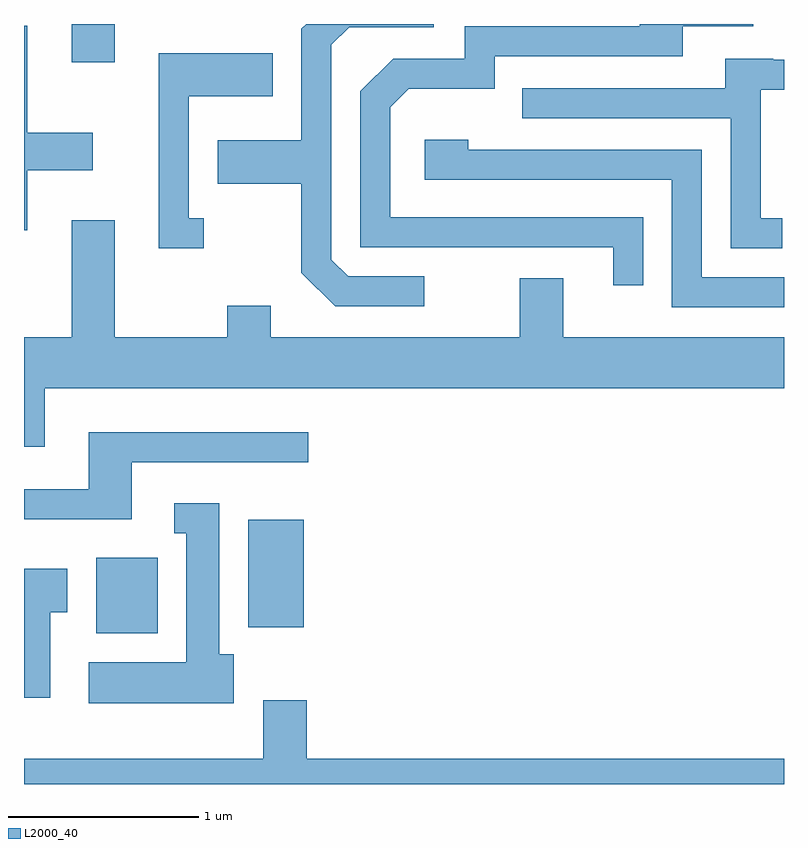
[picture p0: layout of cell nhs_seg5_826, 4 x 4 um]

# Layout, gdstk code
import gdstk
lib = gdstk.Library(unit=1e-6, precision=1e-09)
def R(c, l, rs):  # rectangles x0, y0, x1, y1
    for r in rs: c.add(gdstk.rectangle(r[:2], r[2:], *l))
def P(c, l, *ps):  # polygons
    for p in ps: c.add(gdstk.Polygon(p, *l))
L2000_40 = (2000, 40)

nhs_seg5_826 = lib.new_cell('nhs_seg5_826')
R(nhs_seg5_826, L2000_40, [(209.991,1428.866,210.314,1429.264), (210.791,1428.896,211.084,1429.464), (209.861,1431.871,210.089,1432.072)])
P(nhs_seg5_826, L2000_40, [(212.869,1431.054),(211.539,1431.054),(211.539,1431.634),(211.637,1431.731),(212.089,1431.731),(212.089,1431.901),(213.079,1431.901),(213.079,1432.061),(213.448,1432.061),(213.448,1432.072),(212.851,1432.072),(212.851,1432.059),(211.931,1432.059),(211.931,1431.889),(211.554,1431.889),(211.381,1431.717),(211.381,1430.896),(212.711,1430.896),(212.711,1430.698),(212.869,1430.698)],
  [(211.718,1430.744),(211.317,1430.744),(211.229,1430.832),(211.229,1431.964),(211.322,1432.056),(211.768,1432.056),(211.768,1432.072),(211.096,1432.072),(211.071,1432.047),(211.071,1431.459),(210.631,1431.459),(210.631,1431.231),(211.071,1431.231),(211.071,1430.764),(211.249,1430.586),(211.718,1430.586)],
  [(209.629,1431.301),(209.974,1431.301),(209.974,1431.499),(209.629,1431.499),(209.629,1432.064),(209.611,1432.064),(209.611,1430.986),(209.629,1430.986)],
  [(210.558,1431.049),(210.479,1431.049),(210.479,1431.691),(210.919,1431.691),(210.919,1431.919),(210.321,1431.919),(210.321,1430.891),(210.558,1430.891)],
  [(213.603,1431.049),(213.489,1431.049),(213.489,1431.726),(213.611,1431.726),(213.611,1431.884),(213.555,1431.884),(213.555,1431.889),(213.301,1431.889),(213.301,1431.734),(212.233,1431.734),(212.233,1431.576),(213.331,1431.576),(213.331,1430.891),(213.603,1430.891)],
  [(213.611,1430.739),(213.179,1430.739),(213.179,1431.409),(211.949,1431.409),(211.949,1431.464),(211.721,1431.464),(211.721,1431.251),(213.021,1431.251),(213.021,1430.581),(213.611,1430.581)],
  [(209.719,1430.156),(213.611,1430.156),(213.611,1430.424),(212.449,1430.424),(212.449,1430.734),(212.221,1430.734),(212.221,1430.424),(210.909,1430.424),(210.909,1430.589),(210.681,1430.589),(210.681,1430.424),(210.089,1430.424),(210.089,1431.039),(209.861,1431.039),(209.861,1430.424),(209.611,1430.424),(209.611,1429.846),(209.719,1429.846)],
  [(210.179,1429.766),(211.108,1429.766),(211.108,1429.924),(209.951,1429.924),(209.951,1429.624),(209.611,1429.624),(209.611,1429.466),(210.179,1429.466)],
  [(210.714,1428.754),(210.639,1428.754),(210.639,1429.549),(210.403,1429.549),(210.403,1429.391),(210.466,1429.391),(210.466,1428.714),(209.951,1428.714),(209.951,1428.496),(210.714,1428.496)],
  [(209.749,1428.976),(209.839,1428.976),(209.839,1429.204),(209.611,1429.204),(209.611,1428.526),(209.749,1428.526)],
  [(213.611,1428.204),(211.099,1428.204),(211.099,1428.514),(210.871,1428.514),(210.871,1428.204),(209.611,1428.204),(209.611,1428.072),(213.611,1428.072)])

lib.write_gds('nhs_seg5_826.gds')
